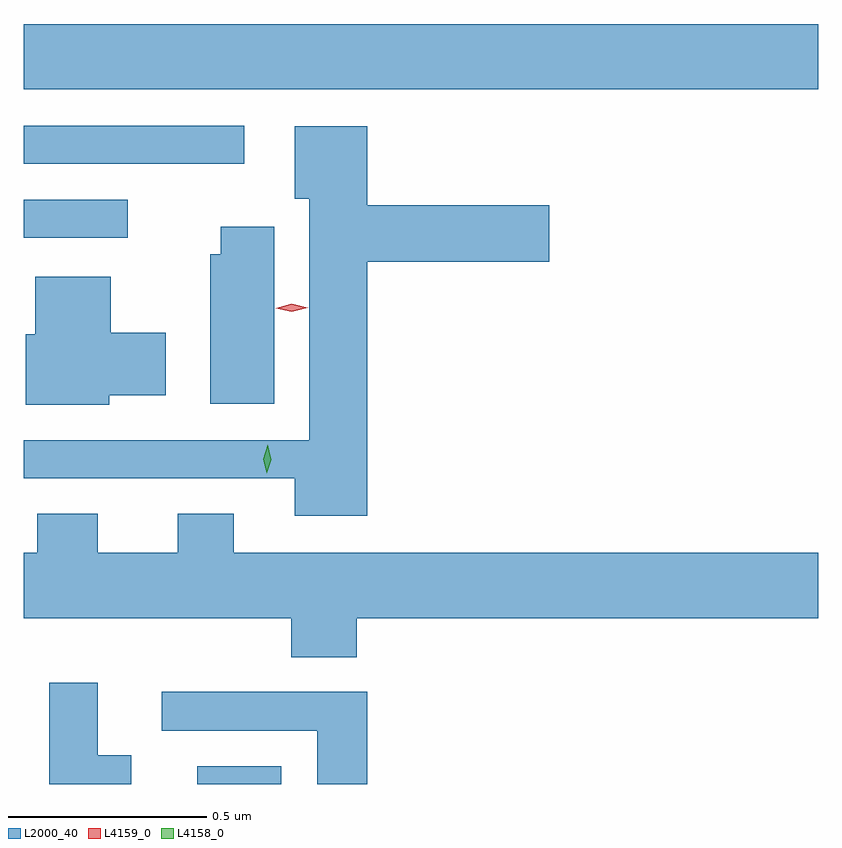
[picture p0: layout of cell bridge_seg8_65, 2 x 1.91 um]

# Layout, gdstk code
import gdstk
lib = gdstk.Library(unit=1e-6, precision=1e-09)
def R(c, l, rs):  # rectangles x0, y0, x1, y1
    for r in rs: c.add(gdstk.rectangle(r[:2], r[2:], *l))
def P(c, l, *ps):  # polygons
    for p in ps: c.add(gdstk.Polygon(p, *l))
L2000_40 = (2000, 40)
L4158_0 = (4158, 0)
L4159_0 = (4159, 0)

bridge_seg8_65 = lib.new_cell('bridge_seg8_65')
R(bridge_seg8_65, L2000_40, [(1042.634,1113.418,1042.846,1113.463), (1042.198,1114.794,1042.459,1114.89), (1042.198,1114.98,1042.753,1115.076), (1042.198,1115.168,1044.198,1115.332)])
P(bridge_seg8_65, L2000_40, [(1043.063,1114.733),(1043.521,1114.733),(1043.521,1114.875),(1043.063,1114.875),(1043.063,1115.074),(1042.88,1115.074),(1042.88,1114.892),(1042.916,1114.892),(1042.916,1114.284),(1042.198,1114.284),(1042.198,1114.188),(1042.88,1114.188),(1042.88,1114.094),(1043.063,1114.094)],
  [(1042.828,1114.822),(1042.694,1114.822),(1042.694,1114.752),(1042.667,1114.752),(1042.667,1114.376),(1042.828,1114.376)],
  [(1042.413,1114.397),(1042.555,1114.397),(1042.555,1114.555),(1042.417,1114.555),(1042.417,1114.696),(1042.226,1114.696),(1042.226,1114.551),(1042.202,1114.551),(1042.202,1114.373),(1042.413,1114.373)],
  [(1043.036,1113.836),(1044.198,1113.836),(1044.198,1114),(1042.726,1114),(1042.726,1114.099),(1042.586,1114.099),(1042.586,1114),(1042.384,1114),(1042.384,1114.099),(1042.232,1114.099),(1042.232,1114),(1042.198,1114),(1042.198,1113.836),(1042.871,1113.836),(1042.871,1113.737),(1043.036,1113.737)],
  [(1042.468,1113.49),(1042.384,1113.49),(1042.384,1113.673),(1042.262,1113.673),(1042.262,1113.418),(1042.468,1113.418)],
  [(1043.063,1113.65),(1042.545,1113.65),(1042.545,1113.552),(1042.937,1113.552),(1042.937,1113.418),(1043.063,1113.418)])
P(bridge_seg8_65, L4158_0, [(1042.809,1114.2),(1042.809,1114.2),(1042.801,1114.236),(1042.812,1114.272),(1042.812,1114.272),(1042.812,1114.272),(1042.821,1114.235),(1042.81,1114.2)])
P(bridge_seg8_65, L4159_0, [(1042.873,1114.607),(1042.832,1114.616),(1042.832,1114.616),(1042.832,1114.616),(1042.872,1114.627),(1042.913,1114.618),(1042.913,1114.618),(1042.913,1114.618)])

lib.write_gds('bridge_seg8_65.gds')
